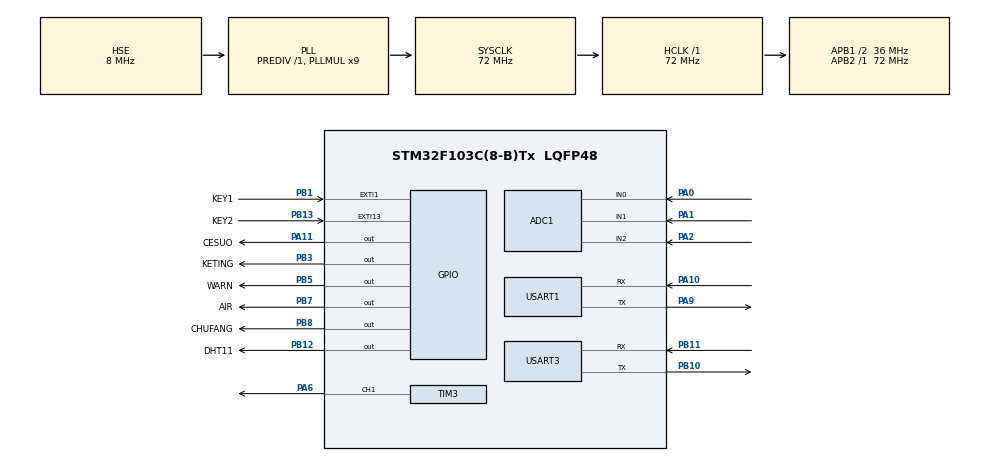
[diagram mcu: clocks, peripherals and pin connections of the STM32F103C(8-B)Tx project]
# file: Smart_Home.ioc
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ADC1.Channel-0\#ChannelRegularConversion=ADC_CHANNEL_0
ADC1.Channel-1\#ChannelRegularConversion=ADC_CHANNEL_1
ADC1.Channel-2\#ChannelRegularConversion=ADC_CHANNEL_2
ADC1.ContinuousConvMode=ENABLE
ADC1.NbrOfConversion=3
ADC1.NbrOfConversionFlag=1
ADC1.Rank-0\#ChannelRegularConversion=1
ADC1.Rank-1\#ChannelRegularConversion=2
ADC1.Rank-2\#ChannelRegularConversion=3
ADC1.SamplingTime-0\#ChannelRegularConversion=ADC_SAMPLETIME_1CYCLE_5
ADC1.SamplingTime-1\#ChannelRegularConversion=ADC_SAMPLETIME_1CYCLE_5
ADC1.SamplingTime-2\#ChannelRegularConversion=ADC_SAMPLETIME_1CYCLE_5
ADC1.master=1
Dma.ADC1.0.Direction=DMA_PERIPH_TO_MEMORY
Dma.ADC1.0.Instance=DMA1_Channel1
Dma.ADC1.0.MemDataAlignment=DMA_MDATAALIGN_HALFWORD
Dma.ADC1.0.MemInc=DMA_MINC_ENABLE
Dma.ADC1.0.Mode=DMA_CIRCULAR
Dma.ADC1.0.PeriphDataAlignment=DMA_PDATAALIGN_HALFWORD
Dma.ADC1.0.PeriphInc=DMA_PINC_DISABLE
Dma.ADC1.0.Priority=DMA_PRIORITY_LOW
Dma.Request0=ADC1
Mcu.Family=STM32F1
Mcu.Name=STM32F103C(8-B)Tx
Mcu.Package=LQFP48
NVIC.EXTI15_10_IRQn=true\:4\:0\:true\:false\:true\:true\:true\:true
NVIC.EXTI1_IRQn=true\:4\:0\:true\:false\:true\:true\:true\:true
NVIC.PriorityGroup=NVIC_PRIORITYGROUP_4
NVIC.TIM4_IRQn=true\:1\:0\:true\:false\:true\:false\:true\:true
NVIC.TimeBase=TIM4_IRQn
NVIC.TimeBaseIP=TIM4
PA0-WKUP.Signal=ADCx_IN0
PA1.Signal=ADCx_IN1
PA10.Mode=Asynchronous
PA10.Signal=USART1_RX
PA11.GPIO_Label=CESUO
PA11.GPIO_Speed=GPIO_SPEED_FREQ_HIGH
PA11.PinState=GPIO_PIN_SET
PA11.Signal=GPIO_Output
PA13.Mode=Serial_Wire
PA13.Signal=SYS_JTMS-SWDIO
PA14.Mode=Serial_Wire
PA14.Signal=SYS_JTCK-SWCLK
PA2.Signal=ADCx_IN2
PA6.Signal=S_TIM3_CH1
PA9.Mode=Asynchronous
PA9.Signal=USART1_TX
PB1.GPIO_Label=KEY1
PB1.GPIO_ModeDefaultEXTI=GPIO_MODE_IT_FALLING
PB1.GPIO_PuPd=GPIO_PULLUP
PB1.Signal=GPXTI1
PB10.Mode=Asynchronous
PB10.Signal=USART3_TX
PB11.Mode=Asynchronous
PB11.Signal=USART3_RX
PB12.GPIO_Label=DHT11
PB12.GPIO_Speed=GPIO_SPEED_FREQ_HIGH
PB12.PinState=GPIO_PIN_RESET
PB12.Signal=GPIO_Output
PB13.GPIO_Label=KEY2
PB13.GPIO_PuPd=GPIO_PULLDOWN
PB13.Signal=GPXTI13
PB3.GPIO_Label=KETING
PB3.GPIO_Speed=GPIO_SPEED_FREQ_HIGH
PB3.PinState=GPIO_PIN_SET
PB3.Signal=GPIO_Output
PB5.GPIO_Label=WARN
PB5.GPIO_Speed=GPIO_SPEED_FREQ_HIGH
PB5.PinState=GPIO_PIN_SET
PB5.Signal=GPIO_Output
PB7.GPIO_Label=AIR
PB7.GPIO_Speed=GPIO_SPEED_FREQ_HIGH
PB7.Signal=GPIO_Output
PB8.GPIO_Label=CHUFANG
PB8.PinState=GPIO_PIN_SET
PB8.Signal=GPIO_Output
PC14-OSC32_IN.Mode=LSE-External-Oscillator
PC14-OSC32_IN.Signal=RCC_OSC32_IN
PC15-OSC32_OUT.Mode=LSE-External-Oscillator
PC15-OSC32_OUT.Signal=RCC_OSC32_OUT
PD0-OSC_IN.Mode=HSE-External-Oscillator
PD0-OSC_IN.Signal=RCC_OSC_IN
PD1-OSC_OUT.Mode=HSE-External-Oscillator
PD1-OSC_OUT.Signal=RCC_OSC_OUT
ProjectManager.HeapSize=0x200
ProjectManager.StackSize=0x400
ProjectManager.TargetToolchain=MDK-ARM V5.32
RCC.ADCPresc=RCC_ADCPCLK2_DIV6
RCC.AHBFreq_Value=72000000
RCC.APB1CLKDivider=RCC_HCLK_DIV2
RCC.APB1Freq_Value=36000000
RCC.APB1TimFreq_Value=72000000
RCC.APB2Freq_Value=72000000
RCC.APB2TimFreq_Value=72000000
RCC.HCLKFreq_Value=72000000
RCC.PLLMUL=RCC_PLL_MUL9
RCC.PLLSourceVirtual=RCC_PLLSOURCE_HSE
RCC.SYSCLKFreq_VALUE=72000000
RCC.SYSCLKSource=RCC_SYSCLKSOURCE_PLLCLK
RCC.USBFreq_Value=72000000
SH.ADCx_IN0.0=ADC1_IN0,IN0
SH.ADCx_IN1.0=ADC1_IN1,IN1
SH.ADCx_IN2.0=ADC1_IN2,IN2
SH.S_TIM3_CH1.0=TIM3_CH1,PWM Generation1 CH1
TIM1.Period=0
TIM1.Prescaler=72-1
TIM3.Channel-PWM\ Generation1\ CH1=TIM_CHANNEL_1
TIM3.Period=20000-1
TIM3.Prescaler=71
USART1.VirtualMode=VM_ASYNC
USART3.VirtualMode=VM_ASYNC
VP_SYS_VS_tim4.Mode=TIM4
VP_TIM1_VS_ClockSourceINT.Mode=Internal
VP_TIM3_VS_ClockSourceINT.Mode=Internal
board=custom

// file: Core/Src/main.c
/* USER CODE BEGIN Header */
/**
 ******************************************************************************
 * @file           : main.c
 * @brief          : Main program body
 ******************************************************************************
 * @attention
 *
 * Copyright (c) 2024 STMicroelectronics.
 * All rights reserved.
 *
 * This software is licensed under terms that can be found in the LICENSE file
 * in the root directory of this software component.
 * If no LICENSE file comes with this software, it is provided AS-IS.
 *
 ******************************************************************************
 */
/* USER CODE END Header */
#include "main.h"
#include "adc.h"
#include "dma.h"
#include "tim.h"
#include "usart.h"
#include "gpio.h"

/* USER CODE BEGIN Includes */
#include "dht11.h"
#include "freertos_task.h"
/* USER CODE END Includes */

void SystemClock_Config(void);

int main(void)
{

  /* MCU Configuration--------------------------------------------------------*/

  /* Reset of all peripherals, Initializes the Flash interface and the Systick. */
  HAL_Init();

  /* Configure the system clock */
  SystemClock_Config();

  /* Initialize all configured peripherals */
  MX_GPIO_Init();
  MX_DMA_Init();
  MX_USART1_UART_Init();
  MX_ADC1_Init();
  MX_TIM3_Init();
  MX_USART3_UART_Init();
  MX_TIM1_Init();
  /* USER CODE BEGIN 2 */
  // float temp = 0;
  // uint8_t humi = 0;
  // uint8_t ligh = 0;
  // uint8_t air_flag = 0;
  // uint8_t w_flag = 0;
  // uint8_t led_flag = 0;
  // uint8_t beep_flag = 0;
  // char buffer[150];

  HAL_ADCEx_Calibration_Start(&hadc1);
  HAL_TIM_PWM_Start(&htim3, TIM_CHANNEL_1);
  Servo_SetAngle(0);

  FreeRtos_Start();
  // HAL_UART_Receive(&huart1, rbuf, 1000);
  /* USER CODE END 2 */

  /* Infinite loop */
  /* USER CODE BEGIN WHILE */
  while (1)
  {

    // HAL_UART_Receive(&huart3, rbuf, 2, 1000);

    // if (rbuf[0] == 'A')
    // {
    //   sscanf((char *)rbuf, "A%d", &air_flag);
    //   if (air_flag)
    //   {
    //     Air_on();
    //   }
    //   else
    //   {
    //     Air_off();
    //   }
    // }
    // else if (rbuf[0] == 'W')
    // {
    //   sscanf((char *)rbuf, "W%d", &w_flag);
    //   if (w_flag)
    //   {
    //     Servo_SetAngle(90);
    //   }
    //   else
    //   {
    //     Servo_SetAngle(0);
    //   }
    // }
    // else if (rbuf[0] == 'L')
    // {
    //   sscanf((char *)rbuf, "L%d", &led_flag);
    //   if (led_flag)
    //   {
    //     HAL_GPIO_WritePin(GPIOA, CESUO_Pin, GPIO_PIN_RESET);
    //     HAL_GPIO_WritePin(GPIOB, BEDROOM_Pin, GPIO_PIN_RESET);
    //     HAL_GPIO_WritePin(GPIOB, CHUFANG_Pin, GPIO_PIN_RESET);
    //     HAL_GPIO_WritePin(GPIOB, KETING_Pin, GPIO_PIN_RESET);
    //     led_flag = 0;
    //   }
    //   else
    //   {
    //     HAL_GPIO_WritePin(GPIOA, CESUO_Pin, GPIO_PIN_SET);
    //     HAL_GPIO_WritePin(GPIOB, BEDROOM_Pin, GPIO_PIN_SET);
    //     HAL_GPIO_WritePin(GPIOB, CHUFANG_Pin, GPIO_PIN_SET);
    //     HAL_GPIO_WritePin(GPIOB, KETING_Pin, GPIO_PIN_SET);
    //   }
    // }
    // else if (rbuf[0] == 'B')
    // {
    //   sscanf((char *)rbuf, "B%d", &beep_flag);
    //   if (beep_flag)
    //   {
    //     HAL_GPIO_WritePin(GPIOB, WARN_Pin, GPIO_PIN_RESET);
    //   }
    //   else
    //   {
    //     HAL_GPIO_WritePin(GPIOB, WARN_Pin, GPIO_PIN_SET);
    //   }
    // }
    // if (data[2] < 500)
    // {
    //   HAL_GPIO_WritePin(GPIOA, CESUO_Pin, GPIO_PIN_RESET);
    //   HAL_GPIO_WritePin(GPIOB, BEDROOM_Pin, GPIO_PIN_RESET);
    //   HAL_GPIO_WritePin(GPIOB, CHUFANG_Pin, GPIO_PIN_RESET);
    //   HAL_GPIO_WritePin(GPIOB, KETING_Pin, GPIO_PIN_RESET);
    // }
    // else if (data[1] < 500)
    // {
    //   HAL_GPIO_WritePin(GPIOB, WARN_Pin, GPIO_PIN_RESET);
    // }

    // ligh = 200 - data[0] * 200 / 4095;
    // Dht11_GetData(&temp, &humi);
    // sprintf(zbuf, "T%.1fH%dL%d\n", temp, humi, ligh);
    // sprintf(buffer, "{\"temp\":{\"value\":%.1f},\"humi\":{\"value\":%d},\"light\":{\"value\":%d},\"fire\":{\"value\":%d},\"air\":{\"value\":%s},\"led\":{\"value\":%s},\"window\":{\"value\":%s}}\n", temp, humi, ligh, data[1], air_flag ? "true" : "false", led_flag ? "true" : "false", w_flag ? "true" : "false");
    // HAL_UART_Transmit(&huart1, (uint8_t *)zbuf, strlen(zbuf), 1000);
    // HAL_UART_Transmit(&huart3, (uint8_t *)buffer, strlen(buffer), 1000);

    // HAL_Delay(1000);
    /* USER CODE END WHILE */

  }
}

void SystemClock_Config(void)
{
  RCC_OscInitTypeDef RCC_OscInitStruct = {0};
  RCC_ClkInitTypeDef RCC_ClkInitStruct = {0};
  RCC_PeriphCLKInitTypeDef PeriphClkInit = {0};

  /** Initializes the RCC Oscillators according to the specified parameters
  * in the RCC_OscInitTypeDef structure.
  */
  RCC_OscInitStruct.OscillatorType = RCC_OSCILLATORTYPE_HSE;
  RCC_OscInitStruct.HSEState = RCC_HSE_ON;
  RCC_OscInitStruct.HSEPredivValue = RCC_HSE_PREDIV_DIV1;
  RCC_OscInitStruct.HSIState = RCC_HSI_ON;
  RCC_OscInitStruct.PLL.PLLState = RCC_PLL_ON;
  RCC_OscInitStruct.PLL.PLLSource = RCC_PLLSOURCE_HSE;
  RCC_OscInitStruct.PLL.PLLMUL = RCC_PLL_MUL9;
  if (HAL_RCC_OscConfig(&RCC_OscInitStruct) != HAL_OK)
  {
    Error_Handler();
  }

  /** Initializes the CPU, AHB and APB buses clocks
  */
  RCC_ClkInitStruct.ClockType = RCC_CLOCKTYPE_HCLK|RCC_CLOCKTYPE_SYSCLK
                              |RCC_CLOCKTYPE_PCLK1|RCC_CLOCKTYPE_PCLK2;
  RCC_ClkInitStruct.SYSCLKSource = RCC_SYSCLKSOURCE_PLLCLK;
  RCC_ClkInitStruct.AHBCLKDivider = RCC_SYSCLK_DIV1;
  RCC_ClkInitStruct.APB1CLKDivider = RCC_HCLK_DIV2;
  RCC_ClkInitStruct.APB2CLKDivider = RCC_HCLK_DIV1;

  if (HAL_RCC_ClockConfig(&RCC_ClkInitStruct, FLASH_LATENCY_2) != HAL_OK)
  {
    Error_Handler();
  }
  PeriphClkInit.PeriphClockSelection = RCC_PERIPHCLK_ADC;
  PeriphClkInit.AdcClockSelection = RCC_ADCPCLK2_DIV6;
  if (HAL_RCCEx_PeriphCLKConfig(&PeriphClkInit) != HAL_OK)
  {
    Error_Handler();
  }
}

/* USER CODE BEGIN 4 */
void m_delay_us(uint32_t udelay)
{
  uint32_t startval, tickn, delays, wait;

  startval = SysTick->VAL;
  tickn = HAL_GetTick();
  // sysc = 72000;  //SystemCoreClock / (1000U / uwTickFreq);
  delays = udelay * 72; // sysc / 1000 * udelay;
  if (delays > startval)
  {
    while (HAL_GetTick() == tickn)
    {
    }
    wait = 72000 + startval - delays;
    while (wait < SysTick->VAL)
    {
    }
  }
  else
  {
    wait = startval - delays;
    while (wait < SysTick->VAL && HAL_GetTick() == tickn)
    {
    }
  }
}

/* USER CODE END 4 */

void HAL_TIM_PeriodElapsedCallback(TIM_HandleTypeDef *htim)
{
  if (htim->Instance == TIM4) {
    HAL_IncTick();
  }
}

void Error_Handler(void)
{
  __disable_irq();
  while (1)
  {
  }
}
